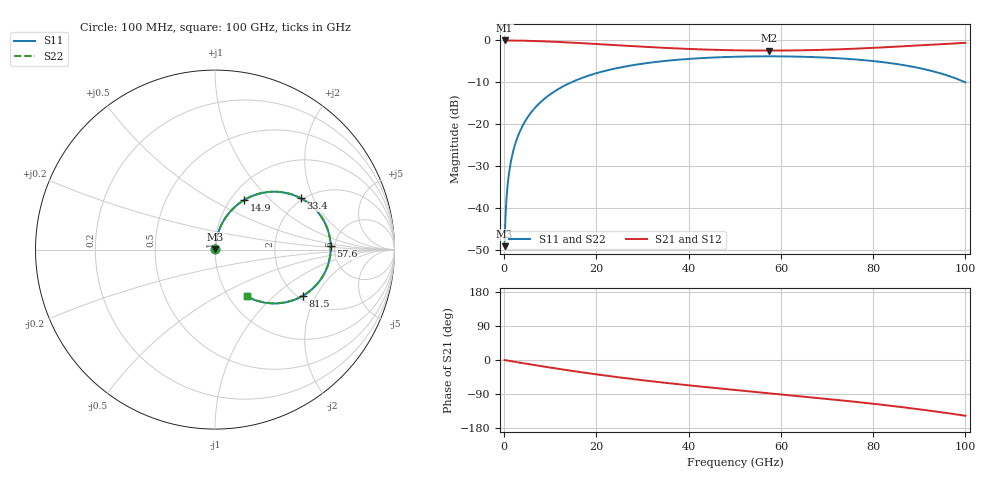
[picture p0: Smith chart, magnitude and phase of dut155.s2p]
! Touchstone file exported from HFSS 2026.1.0
!  File:  C:/ffzhzh/LocalFiles/Ansys_Project_Files/temp_train_RDL_155_1783499980_41296.aedt
!  Generated:  04:40:57 PM Jul  8, 2026
!  Design:  RDL
!  Project:  temp_train_RDL_155_1783499980_41296
! Variables:
!  h_bsmrdl = 2um
!  h_ox = 20um
!  h_rdl = 5um
!  h_sub = 80um
!  h_tmrdl = 3.94um
!  h_tsv = 80um
!  h_via = 3um
!  l_bsmrdl = 300um
!  l_sub = 895.5um
!  l_tmrdl = 495.5um
!  m_sub = 200um
!  pitch = 59.46um
!  r_tsv = 6um
!  s_tmrdl = 10um
!  w_bsmrdl = 18um
!  w_sub = 500um
!  w_tmrdl = 20.15um
!  x_tsv_center1 = 505.575um
!  x_tsv_center2 = 823.575um
!  x_tsv_center3 = 1339.225um
!  x_tsv_center4 = 1657.225um
!  x_tsv_center5 = 2172.875um
!  x_tsv_center6 = 2490.875um
# GHz S MA R 50.000000
! Terminal data exported
! Port[1] = TM_RDL1_1_T1
! Port[2] = TM_RDL1_1_T2
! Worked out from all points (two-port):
!   1000 points, 100 MHz to 100 GHz, reference 50 ohm
!   highest |S21| = -0.02 dB at 100 MHz (marker M1); lowest = -2.4 dB at 57.4 GHz (marker M2)
!   |S21| within 3 dB of the highest: start of sweep to end of sweep
!   lowest |S11| = -49.1 dB at 100 MHz (marker M3), VSWR 1.01, Z = 50.2 + j0.257 ohm
!   |S11| at or under -10 dB: start of sweep to 14.6 GHz; 99.94057 GHz to end of sweep
!   |S22| runs from -49.1 to -3.8 dB; largest |S21 - S12| = 1.6e-14
!   S11 on the Smith chart (normalised r, x): 100 MHz: 1.00, +0.01; 14.9 GHz: 1.15, +0.71; 33.4 GHz: 1.94, +1.61; 57.6 GHz: 4.62, +0.29; 81.5 GHz: 2.14, -1.58; 100 GHz: 1.21, -0.70
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0.1  0.003491 47.1  0.9976 -0.2  0.9976 -0.2  0.003491 47.1
! Gamma 0 0 0 0
! Port Impedance 50 0 50 0
0.8  0.01976 80.0  0.997 -1.7  0.997 -1.7  0.01976 80.0
1.3  0.03168 81.8  0.9965 -2.7  0.9965 -2.7  0.03168 81.8
1.7  0.04124 82.1  0.996 -3.5  0.996 -3.5  0.04124 82.1
2.3  0.05554 81.8  0.9951 -4.8  0.9951 -4.8  0.05553 81.8
3.6  0.0862 80.0  0.9923 -7.4  0.9923 -7.4  0.0862 80.0
5.5  0.1299 76.6  0.9866 -11.2  0.9866 -11.2  0.1299 76.6
8  0.1851 71.9  0.9765 -16.2  0.9765 -16.2  0.1851 71.9
11.1  0.2495 66.2  0.961 -22.1  0.961 -22.1  0.2495 66.2
14.9  0.3216 59.4  0.9385 -29.1  0.9385 -29.1  0.3216 59.4
16.8  0.3546 56.2  0.9264 -32.4  0.9264 -32.4  0.3545 56.2
24.6  0.468 43.6  0.8743 -45.3  0.8743 -45.3  0.468 43.6
33.4  0.5568 30.9  0.8211 -58.1  0.8211 -58.1  0.5568 30.9
41.7  0.6091 20.3  0.7837 -69.0  0.7837 -69.0  0.6091 20.3
50.1  0.6375 10.2  0.7614 -79.1  0.7614 -79.1  0.6375 10.3
57.4  0.645 1.8  0.7553 -87.7  0.7553 -87.7  0.645 1.9
57.6  0.645 1.6  0.7553 -87.9  0.7553 -87.9  0.645 1.7
66.7  0.6326 -8.9  0.7654 -98.6  0.7654 -98.6  0.6326 -8.9
81.5  0.5544 -27.5  0.8215 -117.5  0.8215 -117.5  0.5543 -27.4
83.4  0.538 -30.2  0.8319 -120.2  0.8319 -120.2  0.5379 -30.0
92.1  0.4397 -43.0  0.8852 -133.5  0.8852 -133.5  0.4396 -42.8
100  0.3152 -55.9  0.9337 -147.2  0.9337 -147.2  0.3151 -55.6
